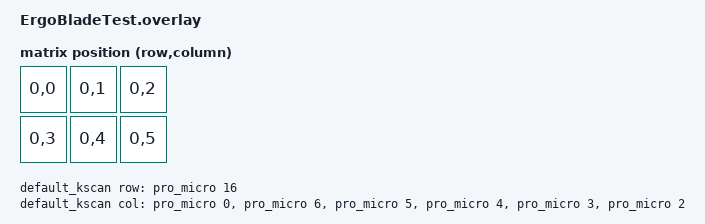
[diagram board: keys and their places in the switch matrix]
#include <dt-bindings/zmk/matrix_transform.h>

/ {
    chosen {
        zmk,kscan = &default_kscan;
        zmk,matrix_transform = &default_transform;
    };

    default_kscan: kscan {
        compatible = "zmk,kscan-gpio-matrix";
        wakeup-source;
        label = "default_kscan";
        diode-direction = "row2col";

        row-gpios = <&pro_micro 16 (GPIO_ACTIVE_HIGH | GPIO_PULL_DOWN)>;
    
        col-gpios = <&pro_micro 0 GPIO_ACTIVE_HIGH>,
                    <&pro_micro 6 GPIO_ACTIVE_HIGH>,
                    <&pro_micro 5 GPIO_ACTIVE_HIGH>,
                    <&pro_micro 4 GPIO_ACTIVE_HIGH>,
                    <&pro_micro 3 GPIO_ACTIVE_HIGH>,
                    <&pro_micro 2 GPIO_ACTIVE_HIGH>;
    };

    default_transform: matrix_transform {
        compatible = "zmk,matrix-transform";
        rows = <2>;
        columns = <3>;

        map = <
            RC(0,0) RC(0,1) RC(0,2) 
            RC(0,3) RC(0,4) RC(0,5)
        >;
    };
};
